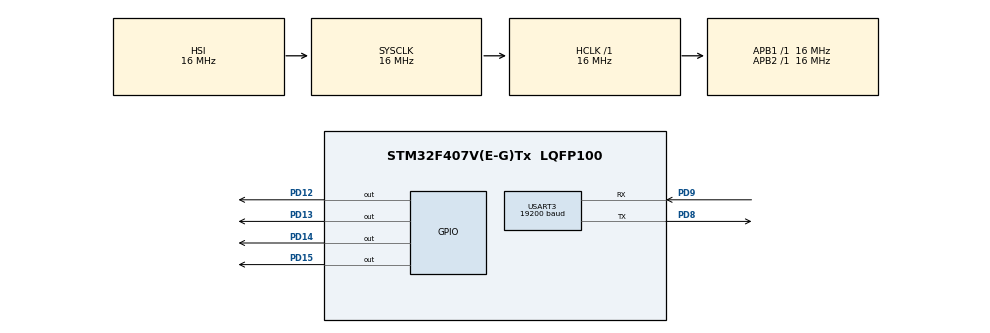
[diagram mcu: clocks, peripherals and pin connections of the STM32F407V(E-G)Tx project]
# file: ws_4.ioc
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Mcu.Family=STM32F4
Mcu.Name=STM32F407V(E-G)Tx
Mcu.Package=LQFP100
NVIC.PriorityGroup=NVIC_PRIORITYGROUP_4
PD12.Signal=GPIO_Output
PD13.Signal=GPIO_Output
PD14.Signal=GPIO_Output
PD15.Signal=GPIO_Output
PD8.Mode=Asynchronous
PD8.Signal=USART3_TX
PD9.Mode=Asynchronous
PD9.Signal=USART3_RX
ProjectManager.HeapSize=0x200
ProjectManager.StackSize=0x400
ProjectManager.TargetToolchain=STM32CubeIDE
RCC.AHBFreq_Value=16000000
RCC.APB1Freq_Value=16000000
RCC.APB2Freq_Value=16000000
RCC.CortexFreq_Value=16000000
RCC.HSE_VALUE=25000000
RCC.HSI_VALUE=16000000
RCC.LSE_VALUE=32768
RCC.SYSCLKFreq_VALUE=16000000
RCC.VCOOutputFreq_Value=192000000
USART3.BaudRate=19200
USART3.VirtualMode=VM_ASYNC
board=custom

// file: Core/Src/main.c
/* USER CODE BEGIN Header */
/**
  ******************************************************************************
  * @file           : main.c
  * @brief          : Main program body
  ******************************************************************************
  * @attention
  *
  * Copyright (c) 2024 STMicroelectronics.
  * All rights reserved.
  *
  * This software is licensed under terms that can be found in the LICENSE file
  * in the root directory of this software component.
  * If no LICENSE file comes with this software, it is provided AS-IS.
  *
  ******************************************************************************
  */
/* USER CODE END Header */
#include "main.h"

UART_HandleTypeDef huart3;

void SystemClock_Config(void);
static void MX_GPIO_Init(void);
static void MX_USART3_UART_Init(void);

int main(void)
{

  /* MCU Configuration--------------------------------------------------------*/

  /* Reset of all peripherals, Initializes the Flash interface and the Systick. */
  HAL_Init();

  /* Configure the system clock */
  SystemClock_Config();

  /* Initialize all configured peripherals */
  MX_GPIO_Init();
  MX_USART3_UART_Init();

  /* Infinite loop */
  /* USER CODE BEGIN WHILE */
  while (1)
    {
     uint8_t rcvBuf[1];
     HAL_StatusTypeDef result;

              result = HAL_UART_Receive(&huart3, rcvBuf, 1, 10);

              if (result == HAL_OK)
              {
                  switch (rcvBuf[0])
                  {
          case '1':
           HAL_GPIO_WritePin(GPIOD, GPIO_PIN_15, GPIO_PIN_SET);
           HAL_GPIO_WritePin(GPIOD, GPIO_PIN_14, GPIO_PIN_SET);
           HAL_GPIO_WritePin(GPIOD, GPIO_PIN_13, GPIO_PIN_SET);
           HAL_GPIO_WritePin(GPIOD, GPIO_PIN_12, GPIO_PIN_SET);
           HAL_UART_Transmit(&huart3, (uint8_t *)" - ALL LEDs ON\r\n", 16, 100);
           break;
          case '2':
           HAL_GPIO_WritePin(GPIOD, GPIO_PIN_15, GPIO_PIN_RESET);
         HAL_GPIO_WritePin(GPIOD, GPIO_PIN_14, GPIO_PIN_RESET);
         HAL_GPIO_WritePin(GPIOD, GPIO_PIN_13, GPIO_PIN_RESET);
         HAL_GPIO_WritePin(GPIOD, GPIO_PIN_12, GPIO_PIN_RESET);
         HAL_UART_Transmit(&huart3, (uint8_t *)" - ALL LEDs OFF\r\n", 17, 100);
         break;
          case '3':
           HAL_GPIO_WritePin(GPIOD, GPIO_PIN_12, GPIO_PIN_SET);
           HAL_UART_Transmit(&huart3, (uint8_t *)" - Green LED ON\r\n", 17, 100);
           break;
          case '4':
         HAL_GPIO_WritePin(GPIOD, GPIO_PIN_12, GPIO_PIN_RESET);
         HAL_UART_Transmit(&huart3, (uint8_t *)" - Green LED OFF\r\n", 18, 100);
         break;
          case '5':
         HAL_GPIO_WritePin(GPIOD, GPIO_PIN_13, GPIO_PIN_SET);
         HAL_UART_Transmit(&huart3, (uint8_t *)" - Orange LED ON\r\n", 18, 100);
         break;
          case '6':
         HAL_GPIO_WritePin(GPIOD, GPIO_PIN_13, GPIO_PIN_RESET);
         HAL_UART_Transmit(&huart3, (uint8_t *)" - Orange LED OFF\r\n", 19, 100);
         break;
          case '7':
         HAL_GPIO_WritePin(GPIOD, GPIO_PIN_14, GPIO_PIN_SET);
         HAL_UART_Transmit(&huart3, (uint8_t *)" - Red LED ON\r\n", 15, 100);
         break;
          case '8':
         HAL_GPIO_WritePin(GPIOD, GPIO_PIN_14, GPIO_PIN_RESET);
         HAL_UART_Transmit(&huart3, (uint8_t *)" - Red LED OFF\r\n", 16, 100);
         break;
          case '9':
         HAL_GPIO_WritePin(GPIOD, GPIO_PIN_15, GPIO_PIN_SET);
         HAL_UART_Transmit(&huart3, (uint8_t *)" - Blue LED ON\r\n", 16, 100);
         break;
          case '0':
         HAL_GPIO_WritePin(GPIOD, GPIO_PIN_15, GPIO_PIN_RESET);
         HAL_UART_Transmit(&huart3, (uint8_t *)" - Blue LED OFF\r\n", 17, 100);
         break;
          default:
           HAL_UART_Transmit(&huart3, (uint8_t *)" - UnexpCmd\r\n", 13, 100);
           break;
                  }

      /* USER CODE END WHILE */

    }
  }
  }

void SystemClock_Config(void)
{
  RCC_OscInitTypeDef RCC_OscInitStruct = {0};
  RCC_ClkInitTypeDef RCC_ClkInitStruct = {0};

  /** Configure the main internal regulator output voltage
  */
  __HAL_RCC_PWR_CLK_ENABLE();
  __HAL_PWR_VOLTAGESCALING_CONFIG(PWR_REGULATOR_VOLTAGE_SCALE1);

  /** Initializes the RCC Oscillators according to the specified parameters
  * in the RCC_OscInitTypeDef structure.
  */
  RCC_OscInitStruct.OscillatorType = RCC_OSCILLATORTYPE_HSI;
  RCC_OscInitStruct.HSIState = RCC_HSI_ON;
  RCC_OscInitStruct.HSICalibrationValue = RCC_HSICALIBRATION_DEFAULT;
  RCC_OscInitStruct.PLL.PLLState = RCC_PLL_NONE;
  if (HAL_RCC_OscConfig(&RCC_OscInitStruct) != HAL_OK)
  {
    Error_Handler();
  }

  /** Initializes the CPU, AHB and APB buses clocks
  */
  RCC_ClkInitStruct.ClockType = RCC_CLOCKTYPE_HCLK|RCC_CLOCKTYPE_SYSCLK
                              |RCC_CLOCKTYPE_PCLK1|RCC_CLOCKTYPE_PCLK2;
  RCC_ClkInitStruct.SYSCLKSource = RCC_SYSCLKSOURCE_HSI;
  RCC_ClkInitStruct.AHBCLKDivider = RCC_SYSCLK_DIV1;
  RCC_ClkInitStruct.APB1CLKDivider = RCC_HCLK_DIV1;
  RCC_ClkInitStruct.APB2CLKDivider = RCC_HCLK_DIV1;

  if (HAL_RCC_ClockConfig(&RCC_ClkInitStruct, FLASH_LATENCY_0) != HAL_OK)
  {
    Error_Handler();
  }
}

static void MX_USART3_UART_Init(void)
{

  huart3.Instance = USART3;
  huart3.Init.BaudRate = 19200;
  huart3.Init.WordLength = UART_WORDLENGTH_8B;
  huart3.Init.StopBits = UART_STOPBITS_1;
  huart3.Init.Parity = UART_PARITY_NONE;
  huart3.Init.Mode = UART_MODE_TX_RX;
  huart3.Init.HwFlowCtl = UART_HWCONTROL_NONE;
  huart3.Init.OverSampling = UART_OVERSAMPLING_16;
  if (HAL_UART_Init(&huart3) != HAL_OK)
  {
    Error_Handler();
  }

}

static void MX_GPIO_Init(void)
{
  GPIO_InitTypeDef GPIO_InitStruct = {0};

  /* GPIO Ports Clock Enable */
  __HAL_RCC_GPIOD_CLK_ENABLE();

  /*Configure GPIO pin Output Level */
  HAL_GPIO_WritePin(GPIOD, GPIO_PIN_12|GPIO_PIN_13|GPIO_PIN_14|GPIO_PIN_15, GPIO_PIN_RESET);

  /*Configure GPIO pins : PD12 PD13 PD14 PD15 */
  GPIO_InitStruct.Pin = GPIO_PIN_12|GPIO_PIN_13|GPIO_PIN_14|GPIO_PIN_15;
  GPIO_InitStruct.Mode = GPIO_MODE_OUTPUT_PP;
  GPIO_InitStruct.Pull = GPIO_NOPULL;
  GPIO_InitStruct.Speed = GPIO_SPEED_FREQ_LOW;
  HAL_GPIO_Init(GPIOD, &GPIO_InitStruct);

}

void Error_Handler(void)
{
  __disable_irq();
  while (1)
  {
  }
}
